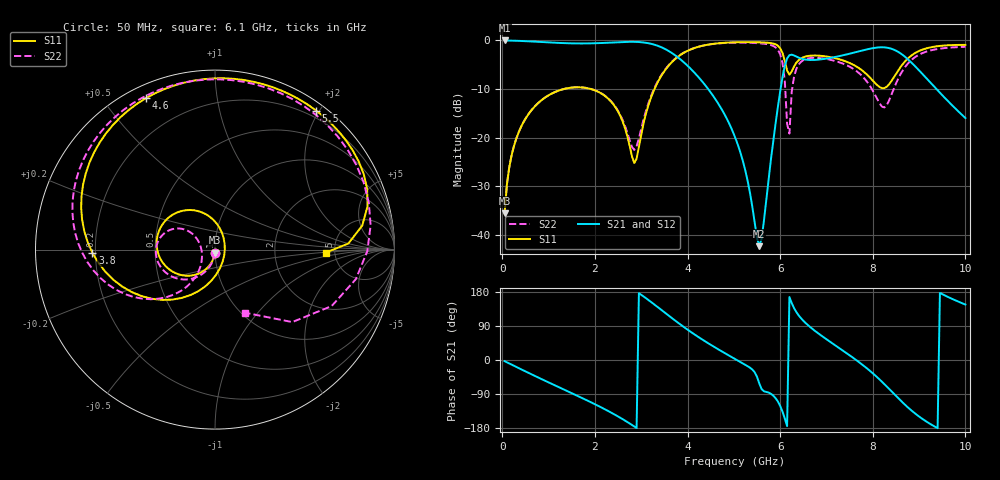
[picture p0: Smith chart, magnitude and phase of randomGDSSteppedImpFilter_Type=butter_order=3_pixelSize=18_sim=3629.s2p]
! freq	dB(S11)	phase(S11)	dB(S12)	phase(S12)
!  dB(S21)	phase(S21)	dB(S22)	phase(S22)
!S-par simulation data
#  GHz  S  DB  R 50
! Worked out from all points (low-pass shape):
!   200 points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, 50 MHz to 10 GHz, reference 50 ohm
!   highest |S21| = -0.01 dB at 50 MHz (marker M1); lowest = -42.4 dB at 5.55 GHz (marker M2)
!   |S21| within 3 dB of the highest: start of sweep to 3.725 GHz; 7.381 GHz to 8.649 GHz (1.267 GHz wide, 15.8 % of centre) (the widest 2 of 3)
!   lowest |S11| = -35.6 dB at 50 MHz (marker M3), VSWR 1.03, Z = 49.9 - j1.65 ohm
!   |S11| at or under -10 dB: start of sweep to 1.331 GHz; 1.912 GHz to 3.287 GHz (1.375 GHz wide, 52.9 % of centre)
!   |S22| runs from -35.6 to -0.5 dB; largest |S21 - S12| = 0
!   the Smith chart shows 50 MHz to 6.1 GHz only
!   S11 on the Smith chart (normalised r, x): 50 MHz: 1.00, -0.03; 3.8 GHz: 0.19, -0.01; 4.6 GHz: 0.05, +0.64; 5.5 GHz: 0.10, +1.96; 6.1 GHz: 4.20, -0.23
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0.05  -35.61 -93.1  -0.01 -3.1  -0.01 -3.1  -35.61 -92.6
0.5  -16.13 -123.0  -0.15 -30.1  -0.15 -30.1  -16.12 -118.2
1.75  -9.70 157.9  -0.62 -101.9  -0.62 -101.9  -9.69 177.7
2.45  -13.86 104.2  -0.39 -145.5  -0.39 -145.5  -13.75 146.7
2.85  -25.24 2.3  -0.29 -175.4  -0.29 -175.4  -22.54 -172.1
3.4  -7.84 -136.3  -1.26 135.5  -1.26 135.5  -7.68 -138.6
3.8  -3.31 -178.5  -3.54 97.9  -3.54 97.9  -3.25 -170.3
4.6  -0.65 114.4  -12.07 32.8  -12.07 32.8  -0.68 127.0
5.05  -0.38 83.6  -20.52 1.0  -20.52 1.0  -0.46 92.6
5.5  -0.37 54.0  -40.65 -44.2  -40.65 -44.2  -0.56 53.2
5.55  -0.38 50.6  -42.36 -62.0  -42.36 -62.0  -0.59 48.1
5.9  -0.80 21.7  -17.18 -100.5  -17.18 -100.5  -1.42 -0.6
6.1  -4.20 -1.6  -5.24 -154.3  -5.24 -154.3  -8.20 -64.6
6.2  -7.06 14.4  -3.04 166.3  -3.04 166.3  -19.18 88.3
6.3  -5.37 26.3  -3.09 137.0  -3.09 137.0  -7.43 46.6
6.7  -3.11 6.1  -4.03 81.8  -4.03 81.8  -3.59 -21.6
7.2  -3.68 -18.5  -3.38 37.8  -3.38 37.8  -4.27 -81.2
7.7  -5.69 -39.1  -2.25 -5.4  -2.25 -5.4  -6.71 -144.0
8.35  -9.06 -16.2  -1.57 -75.9  -1.57 -75.9  -12.41 34.0
8.65  -4.84 -13.4  -3.02 -112.8  -3.02 -112.8  -6.15 -44.4
9.05  -1.97 -34.8  -6.68 -153.6  -6.68 -153.6  -2.70 -102.1
10  -0.92 -79.5  -15.98 146.3  -15.98 146.3  -1.31 -179.4
